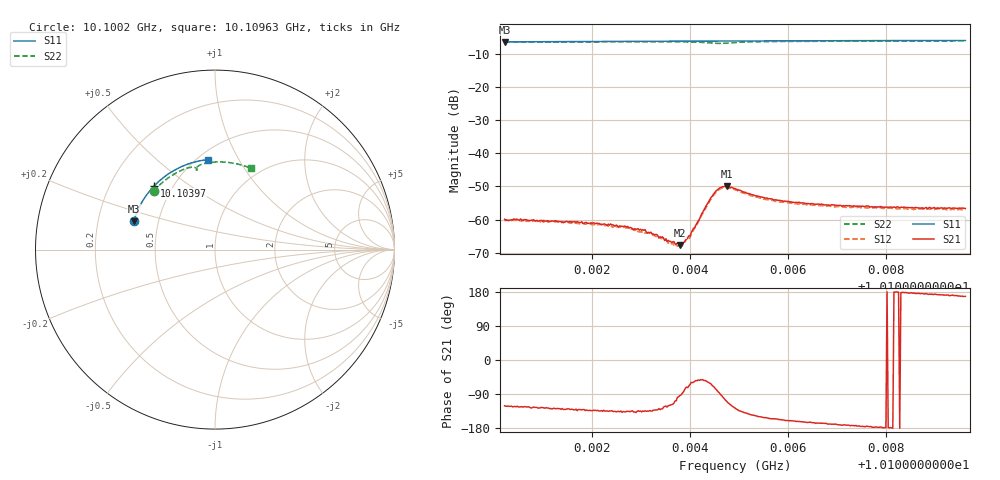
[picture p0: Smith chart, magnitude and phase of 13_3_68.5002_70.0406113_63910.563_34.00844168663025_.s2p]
#  HZ  S  RI  R  50.00
! Rohde & Schwarz Vector Network Analyzer
! Rohde-Schwarz,ZNB20-2Port,1311601062101988,3.16
! Created: UTC 3/20/2024, 5:04:16 PM
! freq[Hz]  re:S11  im:S11  re:S21  im:S21  re:S12  im:S12  re:S22  im:S22
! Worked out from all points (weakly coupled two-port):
!   401 points, 10.1002 GHz to 10.10963 GHz, reference 50 ohm
!   highest |S21| = -49.96 dB at 10.10475 GHz (marker M1); lowest = -67.6 dB at 10.10379 GHz (marker M2)
!   lowest |S11| = -6.4 dB at 10.1002 GHz (marker M3), VSWR 2.84, Z = 18 + j7.36 ohm
!   |S11| at or under -10 dB: nowhere
!   |S22| runs from -6.9 to -6.1 dB; largest |S21 - S12| = 0.00032
!   S11 on the Smith chart (normalised r, x): 10.1002 GHz: 0.36, +0.15; 10.10397 GHz: 0.40, +0.37; 10.10963 GHz: 0.56, +0.75
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1.0100202e10  -0.4525 0.1572  -0.000519 -0.000868  -0.000414 -0.000849  -0.3418 0.325
1.0101168e10  -0.4327 0.2128  -0.000601 -0.000734  -0.000521 -0.000767  -0.2978 0.3695
1.0101781e10  -0.4167 0.2466  -0.000612 -0.000697  -0.000537 -0.000719  -0.2669 0.3946
1.0102182e10  -0.405 0.2678  -0.000578 -0.000608  -0.000527 -0.000651  -0.2455 0.4096
1.0102677e10  -0.3887 0.2933  -0.000577 -0.000538  -0.000477 -0.000578  -0.2177 0.4265
1.0103031e10  -0.3763 0.3106  -0.000492 -0.000502  -0.000416 -0.000506  -0.1968 0.4373
1.0103361e10  -0.3641 0.3266  -0.000324 -0.000411  -0.00032 -0.000445  -0.1763 0.4466
1.0103715e10  -0.3501 0.3429  -0.00013 -0.000405  -5.59e-05 -0.000408  -0.1525 0.4546
1.0103785e10  -0.3475 0.3461  -2.7e-05 -0.000414  -8.6e-06 -0.000429  -0.1473 0.4558
1.010388e10  -0.3434 0.3503  7.76e-05 -0.000451  0.000125 -0.00042  -0.1406 0.4573
1.0103974e10  -0.3394 0.3545  0.000213 -0.000526  0.000235 -0.000457  -0.1334 0.4586
1.0104139e10  -0.3324 0.3617  0.000511 -0.00072  0.000539 -0.000652  -0.1203 0.4586
1.0104281e10  -0.3264 0.3677  0.000817 -0.00113  0.000884 -0.00101  -0.1093 0.456
1.0104469e10  -0.3179 0.3754  0.000843 -0.00221  0.00101 -0.00205  -0.0997 0.4468
1.0104611e10  -0.3117 0.3811  2.65e-05 -0.00302  0.000302 -0.00286  -0.1018 0.4419
1.0104752e10  -0.3053 0.3868  -0.00108 -0.00299  -0.000777 -0.00294  -0.1054 0.4467
1.0104917e10  -0.2978 0.3933  -0.00176 -0.00234  -0.00146 -0.00241  -0.1015 0.4576
1.0105294e10  -0.2798 0.4074  -0.00194 -0.00132  -0.00174 -0.00141  -0.0778 0.4736
1.0105554e10  -0.2672 0.4167  -0.00187 -0.000991  -0.00168 -0.00108  -0.0598 0.4796
1.0106497e10  -0.2185 0.4466  -0.00169 -0.000448  -0.00156 -0.000566  0.00335 0.4882
1.0108076e10  -0.1303 0.483  -0.00153 -2.28e-05  -0.00148 -0.000155  0.1051 0.481
1.0109633e10  -0.0383 0.5013  -0.00144 0.000307  -0.00141 0.00016  0.2003 0.4529
